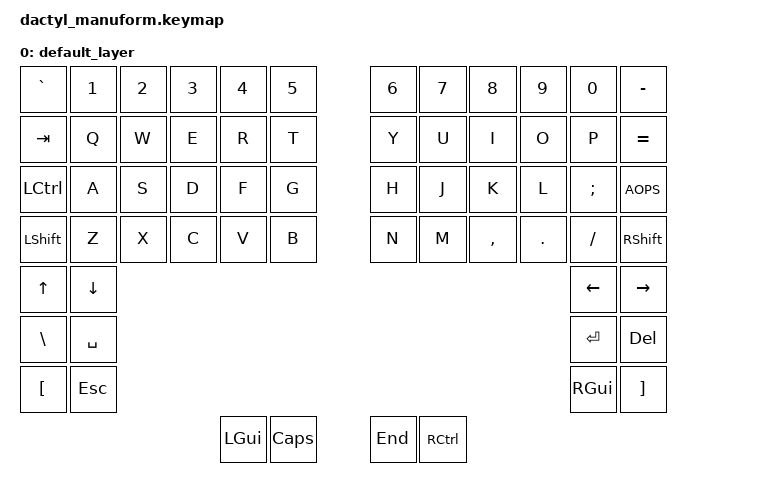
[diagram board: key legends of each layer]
#include <behaviors.dtsi>
#include <dt-bindings/zmk/keys.h>
#include <dt-bindings/zmk/bt.h>
#include <dt-bindings/zmk/outputs.h>
#include <dt-bindings/zmk/mouse.h>

#define DEFAULT 0

/ {
    keymap {
        compatible = "zmk,keymap";

        default_layer {
            bindings = <
                &kp GRAVE  &kp N1  &kp N2  &kp N3    &kp N4    &kp N5                  &kp N6     &kp N7   &kp N8     &kp N9    &kp N0 &kp MINUS
                &kp TAB    &kp Q  &kp W    &kp E    &kp R    &kp T                       &kp Y      &kp U    &kp I      &kp O     &kp P  &kp EQUAL
                &kp LCTRL  &kp A  &kp S    &kp D    &kp F    &kp G                       &kp H      &kp J    &kp K      &kp L     &kp SEMI &kp AOPS
                &kp LSHIFT &kp Z  &kp X    &kp C    &kp V    &kp B                       &kp N      &kp M    &kp COMMA  &kp DOT   &kp FSLH &kp RSHIFT
                                  &kp UP   &kp DOWN                                                       &kp LEFT  &kp RIGHT
                                                    &kp BSLH &kp SPACE                  &kp ENTER   &kp DEL
                                                         &kp LBKT  &kp ESC                &kp RGUI &kp RBKT
                                                         &kp LGUI  &kp CAPS              &kp END &kp RCTRL 
            >;
        };

    };
};
